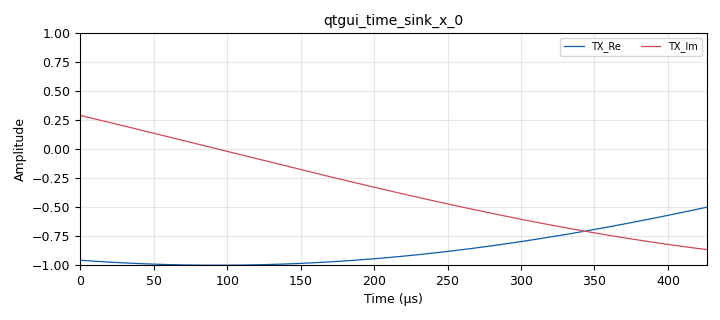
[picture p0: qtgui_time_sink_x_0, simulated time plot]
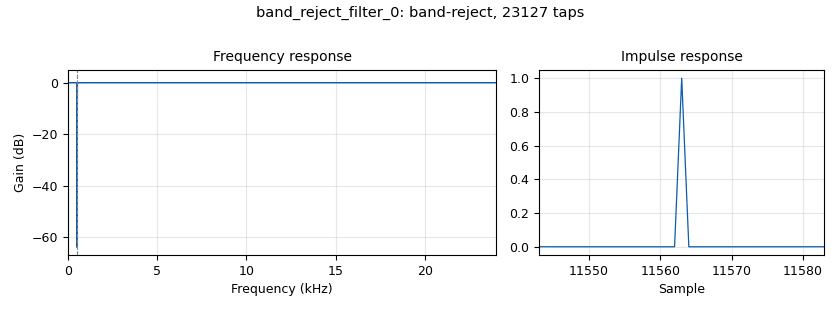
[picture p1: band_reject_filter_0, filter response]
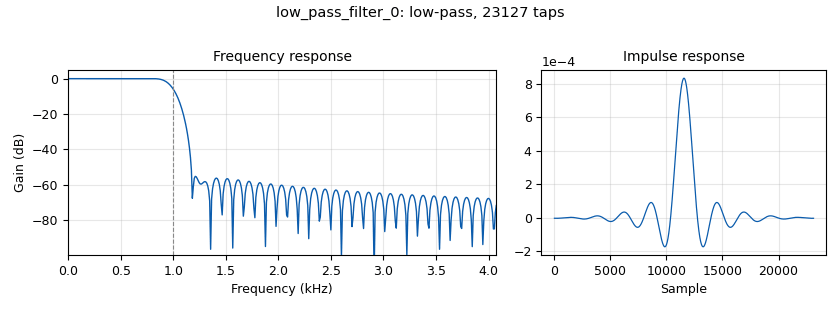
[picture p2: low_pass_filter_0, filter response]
options:
  parameters:
    author: Steven
    generate_options: qt_gui
    id: Doppler_radar
    output_language: python
    title: Doppler_radar
  states: {}

blocks:
- name: multiply
  id: variable_qtgui_range
  parameters:
    start: '0'
    step: '1'
    stop: '100'
    value: '1'
  states: {}
- name: rx_gain
  id: variable_qtgui_range
  parameters:
    start: '0'
    step: '1'
    stop: '70'
    value: '64'
  states: {}
- name: samp_rate
  id: variable
  parameters:
    value: '2400000'
  states: {}
- name: tone_freq
  id: variable_qtgui_range
  parameters:
    start: '-2000'
    step: '1'
    stop: '2000'
    value: '500'
  states: {}
- name: tx_attenuation
  id: variable_qtgui_range
  parameters:
    start: '0'
    step: '1'
    stop: '100'
    value: '40'
  states: {}
- name: analog_sig_source_x_0
  id: analog_sig_source_x
  parameters:
    amp: '1'
    freq: tone_freq
    offset: '0'
    phase: '0'
    samp_rate: samp_rate
    type: complex
    waveform: analog.GR_COS_WAVE
  states: {}
- name: audio_sink_0
  id: audio_sink
  parameters:
    samp_rate: '48000'
  states: {}
- name: band_reject_filter_0
  id: band_reject_filter
  parameters:
    decim: '1'
    gain: '1'
    high_cutoff_freq: '505'
    low_cutoff_freq: '495'
    samp_rate: samp_rate/50
    type: fir_filter_ccf
    width: '5'
    win: window.WIN_HAMMING
  states: {}
- name: blocks_complex_to_real_0
  id: blocks_complex_to_real
  parameters: {}
  states: {}
- name: blocks_file_sink_0
  id: blocks_file_sink
  parameters:
    file: save.dat
    type: complex
  states: {state: disabled}
- name: blocks_multiply_const_vxx_0
  id: blocks_multiply_const_vxx
  parameters:
    const: multiply
    type: complex
  states: {}
- name: iio_pluto_sink_0
  id: iio_pluto_sink
  parameters:
    attenuation1: tx_attenuation
    bandwidth: '20000000'
    buffer_size: '32768'
    cyclic: 'False'
    filter_source: '''Auto'''
    frequency: '2400000000'
    samplerate: samp_rate
    type: fc32
    uri: 192.168.2.1
  states: {}
- name: iio_pluto_source_0
  id: iio_pluto_source
  parameters:
    bandwidth: '20000000'
    bbdc: 'True'
    buffer_size: '32768'
    filter_source: '''Auto'''
    frequency: '2400000000'
    gain1: '''manual'''
    manual_gain1: rx_gain
    quadrature: 'True'
    rfdc: 'True'
    samplerate: samp_rate
    type: fc32
    uri: 192.168.2.1
  states: {}
- name: low_pass_filter_0
  id: low_pass_filter
  parameters:
    cutoff_freq: '1000'
    decim: '50'
    gain: '1'
    samp_rate: samp_rate
    type: fir_filter_ccf
    width: '250'
    win: window.WIN_HAMMING
  states: {}
- name: qtgui_freq_sink_x_0
  id: qtgui_freq_sink_x
  parameters:
    bw: samp_rate
    fc: '0'
    fftsize: 1024*8
    label1: RX
    type: complex
  states: {}
- name: qtgui_freq_sink_x_1
  id: qtgui_freq_sink_x
  parameters:
    bw: samp_rate/50
    fc: '0'
    fftsize: 1024*8
    label1: LPF
    type: complex
  states: {}
- name: qtgui_freq_sink_x_2
  id: qtgui_freq_sink_x
  parameters:
    bw: samp_rate/50
    fc: '0'
    fftsize: 1024*8
    label1: BSF
    type: complex
  states: {}
- name: qtgui_time_sink_x_0
  id: qtgui_time_sink_x
  parameters:
    label1: TX_Re
    label2: TX_Im
    size: '1024'
    srate: samp_rate
    type: complex
  states: {}
- name: qtgui_time_sink_x_1
  id: qtgui_time_sink_x
  parameters:
    label1: RX_Re
    label2: RX_Im
    size: 1024*8
    srate: samp_rate
    type: complex
  states: {}
- name: qtgui_time_sink_x_2
  id: qtgui_time_sink_x
  parameters:
    size: 1024*8
    srate: samp_rate/50
    type: complex
  states: {}
- name: qtgui_time_sink_x_3
  id: qtgui_time_sink_x
  parameters:
    color1: cyan
    label1: BSF_Re
    label2: BSF_Im
    marker1: '6'
    size: 1024*8
    srate: samp_rate/50
    type: complex
  states: {}

connections:
- [analog_sig_source_x_0, '0', iio_pluto_sink_0, '0']
- [analog_sig_source_x_0, '0', qtgui_time_sink_x_0, '0']
- [band_reject_filter_0, '0', blocks_multiply_const_vxx_0, '0']
- [blocks_complex_to_real_0, '0', audio_sink_0, '0']
- [blocks_multiply_const_vxx_0, '0', blocks_complex_to_real_0, '0']
- [blocks_multiply_const_vxx_0, '0', blocks_file_sink_0, '0']
- [blocks_multiply_const_vxx_0, '0', qtgui_freq_sink_x_2, '0']
- [blocks_multiply_const_vxx_0, '0', qtgui_time_sink_x_3, '0']
- [iio_pluto_source_0, '0', low_pass_filter_0, '0']
- [iio_pluto_source_0, '0', qtgui_freq_sink_x_0, '0']
- [iio_pluto_source_0, '0', qtgui_time_sink_x_1, '0']
- [low_pass_filter_0, '0', band_reject_filter_0, '0']
- [low_pass_filter_0, '0', qtgui_freq_sink_x_1, '0']
- [low_pass_filter_0, '0', qtgui_time_sink_x_2, '0']

metadata:
  file_format: 1
  grc_version: 3.10.6.0
